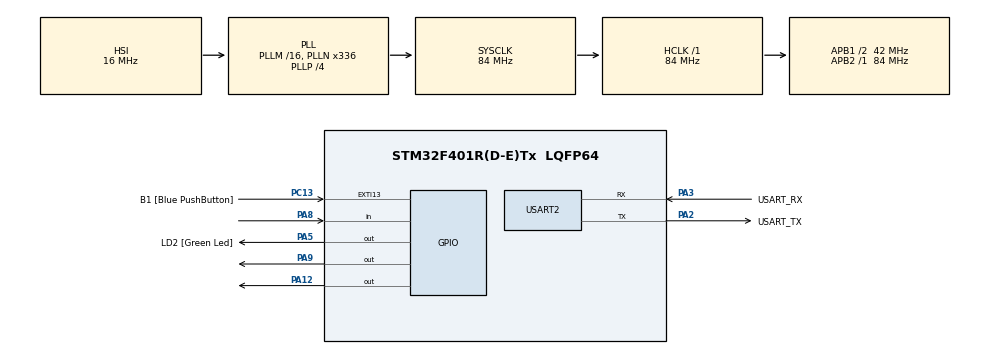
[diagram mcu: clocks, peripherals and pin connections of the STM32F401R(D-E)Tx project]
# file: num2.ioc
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Mcu.Family=STM32F4
Mcu.Name=STM32F401R(D-E)Tx
Mcu.Package=LQFP64
NVIC.PriorityGroup=NVIC_PRIORITYGROUP_0
NVIC.TIM1_CC_IRQn=true\:0\:0\:false\:false\:true\:true\:true\:true
PA12.Signal=GPIO_Output
PA13.GPIO_Label=TMS
PA13.Mode=Serial_Wire
PA13.Signal=SYS_JTMS-SWDIO
PA14.GPIO_Label=TCK
PA14.Mode=Serial_Wire
PA14.Signal=SYS_JTCK-SWCLK
PA2.GPIO_Label=USART_TX
PA2.GPIO_Mode=GPIO_MODE_AF_PP
PA2.GPIO_PuPd=GPIO_NOPULL
PA2.GPIO_Speed=GPIO_SPEED_FREQ_LOW
PA2.Mode=Asynchronous
PA2.Signal=USART2_TX
PA3.GPIO_Label=USART_RX
PA3.GPIO_Mode=GPIO_MODE_AF_PP
PA3.GPIO_PuPd=GPIO_NOPULL
PA3.GPIO_Speed=GPIO_SPEED_FREQ_LOW
PA3.Mode=Asynchronous
PA3.Signal=USART2_RX
PA5.GPIO_Label=LD2 [Green Led]
PA5.GPIO_Mode=GPIO_MODE_OUTPUT_PP
PA5.GPIO_PuPd=GPIO_NOPULL
PA5.GPIO_Speed=GPIO_SPEED_FREQ_LOW
PA5.Signal=GPIO_Output
PA8.Signal=GPIO_Input
PA9.Signal=GPIO_Output
PB3.GPIO_Label=SWO
PB3.Signal=SYS_JTDO-SWO
PC13-ANTI_TAMP.GPIO_Label=B1 [Blue PushButton]
PC13-ANTI_TAMP.GPIO_ModeDefaultEXTI=GPIO_MODE_IT_FALLING
PC13-ANTI_TAMP.GPIO_PuPd=GPIO_NOPULL
PC13-ANTI_TAMP.Signal=GPXTI13
PC14-OSC32_IN.Mode=LSE-External-Oscillator
PC14-OSC32_IN.Signal=RCC_OSC32_IN
PC15-OSC32_OUT.Mode=LSE-External-Oscillator
PC15-OSC32_OUT.Signal=RCC_OSC32_OUT
PH0\ -\ OSC_IN.Mode=HSE-External-Clock-Source
PH0\ -\ OSC_IN.Signal=RCC_OSC_IN
PH1\ -\ OSC_OUT.Mode=HSE-External-Clock-Source
PH1\ -\ OSC_OUT.Signal=RCC_OSC_OUT
ProjectManager.HeapSize=0x200
ProjectManager.StackSize=0x400
ProjectManager.TargetToolchain=STM32CubeIDE
RCC.48MHZClocksFreq_Value=48000000
RCC.AHBFreq_Value=84000000
RCC.APB1CLKDivider=RCC_HCLK_DIV2
RCC.APB1Freq_Value=42000000
RCC.APB1TimFreq_Value=84000000
RCC.APB2Freq_Value=84000000
RCC.APB2TimFreq_Value=84000000
RCC.CortexFreq_Value=84000000
RCC.HCLKFreq_Value=84000000
RCC.HSE_VALUE=8000000
RCC.HSI_VALUE=16000000
RCC.PLLN=336
RCC.PLLP=RCC_PLLP_DIV4
RCC.PLLQ=7
RCC.SYSCLKFreq_VALUE=84000000
RCC.SYSCLKSource=RCC_SYSCLKSOURCE_PLLCLK
RCC.VCOOutputFreq_Value=336000000
TIM1.Prescaler=84-1
USART2.VirtualMode=VM_ASYNC
VP_TIM1_VS_ClockSourceINT.Mode=Internal
board=NUCLEO-F401RE

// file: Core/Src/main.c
/* USER CODE BEGIN Header */
/**
  ******************************************************************************
  * @file           : main.c
  * @brief          : Main program body
  ******************************************************************************
  * @attention
  *
  * Copyright (c) 2022 STMicroelectronics.
  * All rights reserved.
  *
  * This software is licensed under terms that can be found in the LICENSE file
  * in the root directory of this software component.
  * If no LICENSE file comes with this software, it is provided AS-IS.
  *
  ******************************************************************************
  */
/* USER CODE END Header */
#include "main.h"

TIM_HandleTypeDef htim1;

UART_HandleTypeDef huart2;

void SystemClock_Config(void);
static void MX_GPIO_Init(void);
static void MX_USART2_UART_Init(void);
static void MX_TIM1_Init(void);

/* USER CODE BEGIN 0 */
void delay_us (uint16_t us)
{
	__HAL_TIM_SET_COUNTER(&htim1 ,0);  // set the counter value a 0
	while (__HAL_TIM_GET_COUNTER(&htim1) < us);  // wait for the counter to reach the us input in the parameter
}
uint32_t time1;
uint32_t time2;
uint32_t pMillis;
uint16_t distance = 0;
/* USER CODE END 0 */

int main(void)
{

  /* MCU Configuration--------------------------------------------------------*/

  /* Reset of all peripherals, Initializes the Flash interface and the Systick. */
  HAL_Init();

  /* Configure the system clock */
  SystemClock_Config();

  /* Initialize all configured peripherals */
  MX_GPIO_Init();
  MX_USART2_UART_Init();
  MX_TIM1_Init();
  /* USER CODE BEGIN 2 */

  HAL_TIM_Base_Start(&htim1);

  /* USER CODE END 2 */

  /* Infinite loop */
  /* USER CODE BEGIN WHILE */
  while (1)
  {
	  if(HAL_GPIO_ReadPin(GPIOA,GPIO_PIN_1)){
		  HAL_GPIO_WritePin(GPIOA, GPIO_PIN_9, 0);
		 	  HAL_Delay(100);

		 	  HAL_GPIO_WritePin(GPIOA, GPIO_PIN_9, 1);
		 	  delay_us(10);
		 	  HAL_GPIO_WritePin(GPIOA, GPIO_PIN_9, 0);

		 	  pMillis = HAL_GetTick(); // used this to avoid infinite while loop  (for timeout)
		 	  // wait for the echo pin to go high
		 	  while (!(HAL_GPIO_ReadPin (GPIOA, GPIO_PIN_8)) && pMillis + 10 >  HAL_GetTick());
		 	  time1 = __HAL_TIM_GET_COUNTER (&htim1);

		 	  pMillis = HAL_GetTick(); // used this to avoid infinite while loop (for timeout)
		 	  // wait for the echo pin to go low
		 	  while ((HAL_GPIO_ReadPin (GPIOA, GPIO_PIN_8)) && pMillis + 50 > HAL_GetTick());
		 	  time2 = __HAL_TIM_GET_COUNTER (&htim1);

		 	  distance = (time2-time1)* 0.034/2.0;

		 	  if (distance < 10){
		 		  HAL_GPIO_TogglePin(GPIOA, GPIO_PIN_12);
		 		  HAL_GPIO_TogglePin(GPIOA, GPIO_PIN_5);
		 		  HAL_Delay(300);
		 		  HAL_GPIO_TogglePin(GPIOA, GPIO_PIN_12);
		 		  HAL_GPIO_TogglePin(GPIOA, GPIO_PIN_5);
		 	  }
	  }

    /* USER CODE END WHILE */

  }
}

void SystemClock_Config(void)
{
  RCC_OscInitTypeDef RCC_OscInitStruct = {0};
  RCC_ClkInitTypeDef RCC_ClkInitStruct = {0};

  /** Configure the main internal regulator output voltage
  */
  __HAL_RCC_PWR_CLK_ENABLE();
  __HAL_PWR_VOLTAGESCALING_CONFIG(PWR_REGULATOR_VOLTAGE_SCALE2);

  /** Initializes the RCC Oscillators according to the specified parameters
  * in the RCC_OscInitTypeDef structure.
  */
  RCC_OscInitStruct.OscillatorType = RCC_OSCILLATORTYPE_HSI;
  RCC_OscInitStruct.HSIState = RCC_HSI_ON;
  RCC_OscInitStruct.HSICalibrationValue = RCC_HSICALIBRATION_DEFAULT;
  RCC_OscInitStruct.PLL.PLLState = RCC_PLL_ON;
  RCC_OscInitStruct.PLL.PLLSource = RCC_PLLSOURCE_HSI;
  RCC_OscInitStruct.PLL.PLLM = 16;
  RCC_OscInitStruct.PLL.PLLN = 336;
  RCC_OscInitStruct.PLL.PLLP = RCC_PLLP_DIV4;
  RCC_OscInitStruct.PLL.PLLQ = 7;
  if (HAL_RCC_OscConfig(&RCC_OscInitStruct) != HAL_OK)
  {
    Error_Handler();
  }

  /** Initializes the CPU, AHB and APB buses clocks
  */
  RCC_ClkInitStruct.ClockType = RCC_CLOCKTYPE_HCLK|RCC_CLOCKTYPE_SYSCLK
                              |RCC_CLOCKTYPE_PCLK1|RCC_CLOCKTYPE_PCLK2;
  RCC_ClkInitStruct.SYSCLKSource = RCC_SYSCLKSOURCE_PLLCLK;
  RCC_ClkInitStruct.AHBCLKDivider = RCC_SYSCLK_DIV1;
  RCC_ClkInitStruct.APB1CLKDivider = RCC_HCLK_DIV2;
  RCC_ClkInitStruct.APB2CLKDivider = RCC_HCLK_DIV1;

  if (HAL_RCC_ClockConfig(&RCC_ClkInitStruct, FLASH_LATENCY_2) != HAL_OK)
  {
    Error_Handler();
  }
}

static void MX_TIM1_Init(void)
{

  TIM_ClockConfigTypeDef sClockSourceConfig = {0};
  TIM_MasterConfigTypeDef sMasterConfig = {0};

  htim1.Instance = TIM1;
  htim1.Init.Prescaler = 84-1;
  htim1.Init.CounterMode = TIM_COUNTERMODE_UP;
  htim1.Init.Period = 65535;
  htim1.Init.ClockDivision = TIM_CLOCKDIVISION_DIV1;
  htim1.Init.RepetitionCounter = 0;
  htim1.Init.AutoReloadPreload = TIM_AUTORELOAD_PRELOAD_DISABLE;
  if (HAL_TIM_Base_Init(&htim1) != HAL_OK)
  {
    Error_Handler();
  }
  sClockSourceConfig.ClockSource = TIM_CLOCKSOURCE_INTERNAL;
  if (HAL_TIM_ConfigClockSource(&htim1, &sClockSourceConfig) != HAL_OK)
  {
    Error_Handler();
  }
  sMasterConfig.MasterOutputTrigger = TIM_TRGO_RESET;
  sMasterConfig.MasterSlaveMode = TIM_MASTERSLAVEMODE_DISABLE;
  if (HAL_TIMEx_MasterConfigSynchronization(&htim1, &sMasterConfig) != HAL_OK)
  {
    Error_Handler();
  }

}

static void MX_USART2_UART_Init(void)
{

  huart2.Instance = USART2;
  huart2.Init.BaudRate = 115200;
  huart2.Init.WordLength = UART_WORDLENGTH_8B;
  huart2.Init.StopBits = UART_STOPBITS_1;
  huart2.Init.Parity = UART_PARITY_NONE;
  huart2.Init.Mode = UART_MODE_TX_RX;
  huart2.Init.HwFlowCtl = UART_HWCONTROL_NONE;
  huart2.Init.OverSampling = UART_OVERSAMPLING_16;
  if (HAL_UART_Init(&huart2) != HAL_OK)
  {
    Error_Handler();
  }

}

static void MX_GPIO_Init(void)
{
  GPIO_InitTypeDef GPIO_InitStruct = {0};

  /* GPIO Ports Clock Enable */
  __HAL_RCC_GPIOC_CLK_ENABLE();
  __HAL_RCC_GPIOH_CLK_ENABLE();
  __HAL_RCC_GPIOA_CLK_ENABLE();
  __HAL_RCC_GPIOB_CLK_ENABLE();

  /*Configure GPIO pin Output Level */
  HAL_GPIO_WritePin(GPIOA, LD2_Pin|GPIO_PIN_9|GPIO_PIN_12, GPIO_PIN_RESET);

  /*Configure GPIO pin : B1_Pin */
  GPIO_InitStruct.Pin = B1_Pin;
  GPIO_InitStruct.Mode = GPIO_MODE_IT_FALLING;
  GPIO_InitStruct.Pull = GPIO_NOPULL;
  HAL_GPIO_Init(B1_GPIO_Port, &GPIO_InitStruct);

  /*Configure GPIO pins : LD2_Pin PA9 PA12 */
  GPIO_InitStruct.Pin = LD2_Pin|GPIO_PIN_9|GPIO_PIN_12;
  GPIO_InitStruct.Mode = GPIO_MODE_OUTPUT_PP;
  GPIO_InitStruct.Pull = GPIO_NOPULL;
  GPIO_InitStruct.Speed = GPIO_SPEED_FREQ_LOW;
  HAL_GPIO_Init(GPIOA, &GPIO_InitStruct);

  /*Configure GPIO pin : PA8 */
  GPIO_InitStruct.Pin = GPIO_PIN_8;
  GPIO_InitStruct.Mode = GPIO_MODE_INPUT;
  GPIO_InitStruct.Pull = GPIO_NOPULL;
  HAL_GPIO_Init(GPIOA, &GPIO_InitStruct);

}

void Error_Handler(void)
{
  __disable_irq();
  while (1)
  {
  }
}
